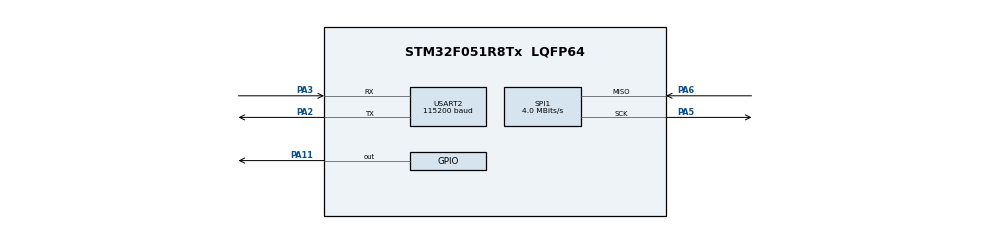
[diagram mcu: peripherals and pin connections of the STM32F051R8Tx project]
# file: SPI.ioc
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Mcu.Family=STM32F0
Mcu.Name=STM32F051R8Tx
Mcu.Package=LQFP64
PA11.Signal=GPIO_Output
PA13.Mode=Serial_Wire
PA13.Signal=SYS_SWDIO
PA14.Mode=Serial_Wire
PA14.Signal=SYS_SWCLK
PA2.Mode=Asynchronous
PA2.Signal=USART2_TX
PA3.Mode=Asynchronous
PA3.Signal=USART2_RX
PA5.Mode=RX_Only_Simplex_Unidirect_Master
PA5.Signal=SPI1_SCK
PA6.Mode=RX_Only_Simplex_Unidirect_Master
PA6.Signal=SPI1_MISO
ProjectManager.HeapSize=0x200
ProjectManager.StackSize=0x400
ProjectManager.TargetToolchain=STM32CubeIDE
SPI1.CalculateBaudRate=4.0 MBits/s
SPI1.DataSize=SPI_DATASIZE_8BIT
SPI1.Direction=SPI_DIRECTION_2LINES_RXONLY
SPI1.Mode=SPI_MODE_MASTER
SPI1.VirtualType=VM_MASTER
USART2.BaudRate=115200
USART2.VirtualMode-Asynchronous=VM_ASYNC
board=custom

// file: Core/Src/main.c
/* USER CODE BEGIN Header */
/**
  ******************************************************************************
  * @file           : main.c
  * @brief          : Main program body
  ******************************************************************************
  * @attention
  *
  * Copyright (c) 2024 STMicroelectronics.
  * All rights reserved.
  *
  * This software is licensed under terms that can be found in the LICENSE file
  * in the root directory of this software component.
  * If no LICENSE file comes with this software, it is provided AS-IS.
  *
  ******************************************************************************
  */
/* USER CODE END Header */
#include "main.h"

/* USER CODE BEGIN Includes */
#include <string.h>
#include <stdio.h>

/* USER CODE END Includes */

SPI_HandleTypeDef hspi1;

UART_HandleTypeDef huart2;

void SystemClock_Config(void);
static void MX_GPIO_Init(void);
static void MX_SPI1_Init(void);
static void MX_USART2_UART_Init(void);

int main(void)
{
  /* USER CODE BEGIN 1 */
	char buf[48];
	uint8_t inData[2];
	uint16_t adcValue = 0;
	float voltage = 0;

  /* USER CODE END 1 */

  /* MCU Configuration--------------------------------------------------------*/

  /* Reset of all peripherals, Initializes the Flash interface and the Systick. */
  HAL_Init();

  /* Configure the system clock */
  SystemClock_Config();

  /* Initialize all configured peripherals */
  MX_GPIO_Init();
  MX_SPI1_Init();
  MX_USART2_UART_Init();

  /* Infinite loop */
  while (1)
  {

    /* USER CODE BEGIN 3 */
	  // Set high
	  HAL_GPIO_WritePin(GPIOA, GPIO_PIN_11, GPIO_PIN_SET);
	  HAL_Delay(1);

	  // Set low
	  // Begin conversation
	  HAL_GPIO_WritePin(GPIOA, GPIO_PIN_11, GPIO_PIN_RESET);
	  HAL_Delay(1);

	  // Transmit data across
	  HAL_StatusTypeDef status = HAL_SPI_Receive(&hspi1, inData, sizeof(inData), HAL_MAX_DELAY);
	  HAL_Delay(1);
	  if(status != HAL_OK)
	  {
		  sprintf(buf, "Error SPI status %d\r\n", status);
		  HAL_UART_Transmit(&huart2, (const uint8_t*)buf, strlen(buf), 100000);
	  }

	  // Set high to end data receive
	  HAL_GPIO_WritePin(GPIOA, GPIO_PIN_11, GPIO_PIN_SET);

	  // Conversion
	  adcValue = (inData[0] << 8) | inData[1];
	  voltage = ((float)adcValue / 65535.0) * 5;

	  // Send to Serial
	  sprintf((char*)buf, "Voltage | %.01f | \r\n\r\n", voltage);
	  HAL_UART_Transmit(&huart2, (uint8_t*)buf, strlen((char*)buf), HAL_MAX_DELAY);
	  HAL_Delay(500);
  }
  /* USER CODE END 3 */
}

void SystemClock_Config(void)
{
  RCC_OscInitTypeDef RCC_OscInitStruct = {0};
  RCC_ClkInitTypeDef RCC_ClkInitStruct = {0};

  /** Initializes the RCC Oscillators according to the specified parameters
  * in the RCC_OscInitTypeDef structure.
  */
  RCC_OscInitStruct.OscillatorType = RCC_OSCILLATORTYPE_HSI;
  RCC_OscInitStruct.HSIState = RCC_HSI_ON;
  RCC_OscInitStruct.HSICalibrationValue = RCC_HSICALIBRATION_DEFAULT;
  RCC_OscInitStruct.PLL.PLLState = RCC_PLL_NONE;
  if (HAL_RCC_OscConfig(&RCC_OscInitStruct) != HAL_OK)
  {
    Error_Handler();
  }

  /** Initializes the CPU, AHB and APB buses clocks
  */
  RCC_ClkInitStruct.ClockType = RCC_CLOCKTYPE_HCLK|RCC_CLOCKTYPE_SYSCLK
                              |RCC_CLOCKTYPE_PCLK1;
  RCC_ClkInitStruct.SYSCLKSource = RCC_SYSCLKSOURCE_HSI;
  RCC_ClkInitStruct.AHBCLKDivider = RCC_SYSCLK_DIV1;
  RCC_ClkInitStruct.APB1CLKDivider = RCC_HCLK_DIV1;

  if (HAL_RCC_ClockConfig(&RCC_ClkInitStruct, FLASH_LATENCY_0) != HAL_OK)
  {
    Error_Handler();
  }
}

static void MX_SPI1_Init(void)
{

  /* SPI1 parameter configuration*/
  hspi1.Instance = SPI1;
  hspi1.Init.Mode = SPI_MODE_MASTER;
  hspi1.Init.Direction = SPI_DIRECTION_2LINES_RXONLY;
  hspi1.Init.DataSize = SPI_DATASIZE_8BIT;
  hspi1.Init.CLKPolarity = SPI_POLARITY_LOW;
  hspi1.Init.CLKPhase = SPI_PHASE_1EDGE;
  hspi1.Init.NSS = SPI_NSS_SOFT;
  hspi1.Init.BaudRatePrescaler = SPI_BAUDRATEPRESCALER_2;
  hspi1.Init.FirstBit = SPI_FIRSTBIT_MSB;
  hspi1.Init.TIMode = SPI_TIMODE_DISABLE;
  hspi1.Init.CRCCalculation = SPI_CRCCALCULATION_DISABLE;
  hspi1.Init.CRCPolynomial = 7;
  hspi1.Init.CRCLength = SPI_CRC_LENGTH_DATASIZE;
  hspi1.Init.NSSPMode = SPI_NSS_PULSE_ENABLE;
  if (HAL_SPI_Init(&hspi1) != HAL_OK)
  {
    Error_Handler();
  }

}

static void MX_USART2_UART_Init(void)
{

  huart2.Instance = USART2;
  huart2.Init.BaudRate = 115200;
  huart2.Init.WordLength = UART_WORDLENGTH_8B;
  huart2.Init.StopBits = UART_STOPBITS_1;
  huart2.Init.Parity = UART_PARITY_NONE;
  huart2.Init.Mode = UART_MODE_TX_RX;
  huart2.Init.HwFlowCtl = UART_HWCONTROL_NONE;
  huart2.Init.OverSampling = UART_OVERSAMPLING_16;
  huart2.Init.OneBitSampling = UART_ONE_BIT_SAMPLE_DISABLE;
  huart2.AdvancedInit.AdvFeatureInit = UART_ADVFEATURE_NO_INIT;
  if (HAL_UART_Init(&huart2) != HAL_OK)
  {
    Error_Handler();
  }

}

static void MX_GPIO_Init(void)
{
  GPIO_InitTypeDef GPIO_InitStruct = {0};

  /* GPIO Ports Clock Enable */
  __HAL_RCC_GPIOA_CLK_ENABLE();

  /*Configure GPIO pin Output Level */
  HAL_GPIO_WritePin(GPIOA, GPIO_PIN_11, GPIO_PIN_RESET);

  /*Configure GPIO pin : PA11 */
  GPIO_InitStruct.Pin = GPIO_PIN_11;
  GPIO_InitStruct.Mode = GPIO_MODE_OUTPUT_PP;
  GPIO_InitStruct.Pull = GPIO_NOPULL;
  GPIO_InitStruct.Speed = GPIO_SPEED_FREQ_LOW;
  HAL_GPIO_Init(GPIOA, &GPIO_InitStruct);

}

void Error_Handler(void)
{
  __disable_irq();
  while (1)
  {
  }
}
